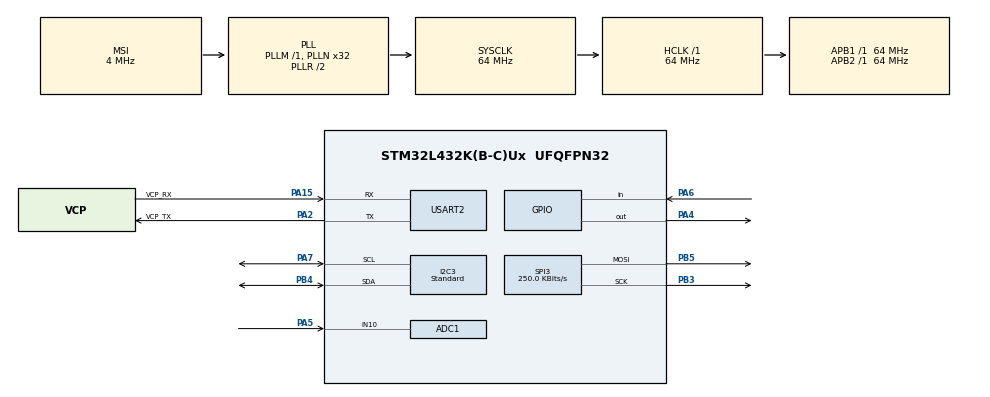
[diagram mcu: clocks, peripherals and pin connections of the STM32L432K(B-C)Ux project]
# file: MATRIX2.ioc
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ADC1.Channel-1\#ChannelRegularConversion=ADC_CHANNEL_10
ADC1.NbrOfConversionFlag=1
ADC1.OffsetNumber-1\#ChannelRegularConversion=ADC_OFFSET_NONE
ADC1.Rank-1\#ChannelRegularConversion=1
ADC1.SamplingTime-1\#ChannelRegularConversion=ADC_SAMPLETIME_2CYCLES_5
ADC1.master=1
FREERTOS.Queues01=UartQueue,16,uint16_t,0,Dynamic,NULL,NULL
FREERTOS.Tasks01=defaultTask,24,128,StartDefaultTask,Default,NULL,Dynamic,NULL,NULL;MartixTask,24,128,StartMartixTask,Default,NULL,Dynamic,NULL,NULL;PotentionTask,24,128,StartPotentionTask,Default,NULL,Dynamic,NULL,NULL;SwitchTask,24,128,StartSwitchTask,Default,NULL,Dynamic,NULL,NULL;TempTask,24,128,StartTempTask,Default,NULL,Dynamic,NULL,NULL;UartTask,24,128,StartUartTask,Default,NULL,Dynamic,NULL,NULL
FREERTOS.configTOTAL_HEAP_SIZE=6000
FREERTOS.configUSE_NEWLIB_REENTRANT=1
I2C3.CustomTiming=Disabled
I2C3.I2C_Speed_Mode=I2C_Standard
I2C3.Timing=0x10707DBC
Mcu.Family=STM32L4
Mcu.Name=STM32L432K(B-C)Ux
Mcu.Package=UFQFPN32
NVIC.PriorityGroup=NVIC_PRIORITYGROUP_4
NVIC.TIM6_DAC_IRQn=true\:15\:0\:false\:false\:true\:false\:false\:true
NVIC.TimeBase=TIM6_DAC_IRQn
NVIC.TimeBaseIP=TIM6
NVIC.USART2_IRQn=true\:5\:0\:false\:false\:true\:true\:true\:true
PA0.Mode=HSE-External-Clock-Source-for-LittleOrca
PA0.Signal=RCC_CK_IN
PA13\ (JTMS-SWDIO).Mode=Serial_Wire
PA13\ (JTMS-SWDIO).Signal=SYS_JTMS-SWDIO
PA14\ (JTCK-SWCLK).Mode=Serial_Wire
PA14\ (JTCK-SWCLK).Signal=SYS_JTCK-SWCLK
PA15\ (JTDI).GPIO_Label=VCP_RX
PA15\ (JTDI).Mode=Asynchronous
PA15\ (JTDI).Signal=USART2_RX
PA2.GPIO_Label=VCP_TX
PA2.Mode=Asynchronous
PA2.Signal=USART2_TX
PA4.Signal=GPIO_Output
PA5.Signal=ADCx_IN10
PA6.GPIO_PuPd=GPIO_PULLUP
PA6.Signal=GPIO_Input
PA7.Mode=I2C
PA7.Signal=I2C3_SCL
PB3\ (JTDO-TRACESWO).Mode=TX_Only_Simplex_Unidirect_Master
PB3\ (JTDO-TRACESWO).Signal=SPI3_SCK
PB4\ (NJTRST).Mode=I2C
PB4\ (NJTRST).Signal=I2C3_SDA
PB5.Mode=TX_Only_Simplex_Unidirect_Master
PB5.Signal=SPI3_MOSI
PC14-OSC32_IN\ (PC14).Mode=LSE-External-Oscillator
PC14-OSC32_IN\ (PC14).Signal=RCC_OSC32_IN
PC15-OSC32_OUT\ (PC15).Mode=LSE-External-Oscillator
PC15-OSC32_OUT\ (PC15).Signal=RCC_OSC32_OUT
ProjectManager.HeapSize=0x200
ProjectManager.StackSize=0x400
ProjectManager.TargetToolchain=STM32CubeIDE
RCC.ADCFreq_Value=32000000
RCC.AHBFreq_Value=64000000
RCC.APB1Freq_Value=64000000
RCC.APB1TimFreq_Value=64000000
RCC.APB2Freq_Value=64000000
RCC.APB2TimFreq_Value=64000000
RCC.CortexFreq_Value=64000000
RCC.HCLKFreq_Value=64000000
RCC.HSE_VALUE=8000000
RCC.HSI48_VALUE=48000000
RCC.HSI_VALUE=16000000
RCC.MSI_VALUE=4000000
RCC.PLLN=32
RCC.PLLSAI1N=16
RCC.SYSCLKFreq_VALUE=64000000
RCC.SYSCLKSource=RCC_SYSCLKSOURCE_PLLCLK
RCC.USBFreq_Value=32000000
RCC.VCOOutputFreq_Value=128000000
SH.ADCx_IN10.0=ADC1_IN10,IN10-Single-Ended
SPI3.BaudRatePrescaler=SPI_BAUDRATEPRESCALER_256
SPI3.CalculateBaudRate=250.0 KBits/s
SPI3.DataSize=SPI_DATASIZE_8BIT
SPI3.Direction=SPI_DIRECTION_2LINES
SPI3.Mode=SPI_MODE_MASTER
SPI3.VirtualType=VM_MASTER
USART2.VirtualMode-Asynchronous=VM_ASYNC
VP_FREERTOS_VS_CMSIS_V2.Mode=CMSIS_V2
VP_RNG_VS_RNG.Mode=RNG_Activate
VP_SYS_VS_tim6.Mode=TIM6
board=custom

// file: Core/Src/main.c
/* USER CODE BEGIN Header */
/**
  ******************************************************************************
  * @file           : main.c
  * @brief          : Main program body
  ******************************************************************************
  * @attention
  *
  * Copyright (c) 2022 STMicroelectronics.
  * All rights reserved.
  *
  * This software is licensed under terms that can be found in the LICENSE file
  * in the root directory of this software component.
  * If no LICENSE file comes with this software, it is provided AS-IS.
  *
  ******************************************************************************
  */
/* USER CODE END Header */
#include "main.h"
#include "cmsis_os.h"

/* USER CODE BEGIN Includes */
#include <stdio.h>

#include "max7219_matrix.h"
#include "GFX_BW.h"
#include "fonts/fonts.h"
#include <string.h>
char Text[50];
char str[255] ="Systemy Operacyjne Mikrokontrolerow";

int sensor = 0;
int sensor11 = 0;
int sensor12 = 0;
uint16_t del = 100;
uint8_t flag = 2;
uint8_t intesivity = 99;

/* Variables for AHT10 */
uint8_t AHT10_RX_Data[6];
uint32_t AHT10_ADC_Raw;
float AHT10_Temperature = 0;
float AHT10_Humidity;
uint8_t AHT10_TmpHum_Cmd = 0xAC;

#define AHT10_Adress 0x38 << 1

uint8_t img[]={0x00,0x66,0xFF,0xFF,0xFF,0x7E,0x3C,0x18,0x00,0x66,0xFF,0xFF,0xFF,0x7E,0x3C,0x18};

/* USER CODE END Includes */

ADC_HandleTypeDef hadc1;

I2C_HandleTypeDef hi2c3;

RNG_HandleTypeDef hrng;

SPI_HandleTypeDef hspi3;

UART_HandleTypeDef huart2;

/* Definitions for defaultTask */
osThreadId_t defaultTaskHandle;
const osThreadAttr_t defaultTask_attributes = {
  .name = "defaultTask",
  .stack_size = 128 * 4,
  .priority = (osPriority_t) osPriorityNormal,
};
/* Definitions for MartixTask */
osThreadId_t MartixTaskHandle;
const osThreadAttr_t MartixTask_attributes = {
  .name = "MartixTask",
  .stack_size = 128 * 4,
  .priority = (osPriority_t) osPriorityNormal,
};
/* Definitions for PotentionTask */
osThreadId_t PotentionTaskHandle;
const osThreadAttr_t PotentionTask_attributes = {
  .name = "PotentionTask",
  .stack_size = 128 * 4,
  .priority = (osPriority_t) osPriorityNormal,
};
/* Definitions for SwitchTask */
osThreadId_t SwitchTaskHandle;
const osThreadAttr_t SwitchTask_attributes = {
  .name = "SwitchTask",
  .stack_size = 128 * 4,
  .priority = (osPriority_t) osPriorityNormal,
};
/* Definitions for TempTask */
osThreadId_t TempTaskHandle;
const osThreadAttr_t TempTask_attributes = {
  .name = "TempTask",
  .stack_size = 128 * 4,
  .priority = (osPriority_t) osPriorityNormal,
};
/* Definitions for UartTask */
osThreadId_t UartTaskHandle;
const osThreadAttr_t UartTask_attributes = {
  .name = "UartTask",
  .stack_size = 128 * 4,
  .priority = (osPriority_t) osPriorityNormal,
};
/* Definitions for UartQueue */
osMessageQueueId_t UartQueueHandle;
const osMessageQueueAttr_t UartQueue_attributes = {
  .name = "UartQueue"
};
/* USER CODE BEGIN PV */
uint8_t uart2RecBuf = 0;
/* USER CODE END PV */

void SystemClock_Config(void);
void PeriphCommonClock_Config(void);
static void MX_GPIO_Init(void);
static void MX_ADC1_Init(void);
static void MX_I2C3_Init(void);
static void MX_SPI3_Init(void);
static void MX_USART2_UART_Init(void);
static void MX_RNG_Init(void);
void StartDefaultTask(void *argument);
void StartMartixTask(void *argument);
void StartPotentionTask(void *argument);
void StartSwitchTask(void *argument);
void StartTempTask(void *argument);
void StartUartTask(void *argument);

/* USER CODE BEGIN PFP */
void HAL_UART_RxCpltCallback(UART_HandleTypeDef *huart)
{
	if (1) // interrupt rx
	{
		//osMessageQueuePut(mq_id, msg_ptr, msg_prio, timeout)
		osMessageQueuePut(UartQueueHandle, &uart2RecBuf, 0, 0);
		//mask= mask? 0:1 ;
		HAL_UART_Receive_IT(&huart2, &uart2RecBuf, 1);
	}
}

uint8_t scan(uint8_t *stt){
	uint8_t f = 0;
	for (int i = 1; i <255; i++){
		if(stt[i] == '#' ){
			f = 1;
		}
		if(f == 0){
			str[i-1]=stt[i];
		}
		else{
			str[i-1]= NULL;
		}
	}

}

void graf(uint8_t *stt){
	char ff[16];
	uint8_t ii = 1;
	for (int i = 0; i < 16; i++){
		ii += 6;

	}

}

/* USER CODE END PFP */

int main(void)
{

  /* MCU Configuration--------------------------------------------------------*/

  /* Reset of all peripherals, Initializes the Flash interface and the Systick. */
  HAL_Init();

  /* Configure the system clock */
  SystemClock_Config();

/* Configure the peripherals common clocks */
  PeriphCommonClock_Config();

  /* Initialize all configured peripherals */
  MX_GPIO_Init();
  MX_ADC1_Init();
  MX_I2C3_Init();
  MX_SPI3_Init();
  MX_USART2_UART_Init();
  MX_RNG_Init();
  /* USER CODE BEGIN 2 */
  MAX7219_Init(&hspi3);
  HAL_Delay(100);
  GFX_SetFont(font_8x5);
  GFX_SetFontSize(1);
  MAX7219_Clear(MAX7219_BLACK);
  MAX7219_Display();
  HAL_UART_Receive_IT(&huart2, &uart2RecBuf, 1);
  /* USER CODE END 2 */

  /* Init scheduler */
  osKernelInitialize();

  /* Create the queue(s) */
  /* creation of UartQueue */
  UartQueueHandle = osMessageQueueNew (16, sizeof(uint16_t), &UartQueue_attributes);

  /* Create the thread(s) */
  /* creation of defaultTask */
  defaultTaskHandle = osThreadNew(StartDefaultTask, NULL, &defaultTask_attributes);

  /* creation of MartixTask */
  MartixTaskHandle = osThreadNew(StartMartixTask, NULL, &MartixTask_attributes);

  /* creation of PotentionTask */
  PotentionTaskHandle = osThreadNew(StartPotentionTask, NULL, &PotentionTask_attributes);

  /* creation of SwitchTask */
  SwitchTaskHandle = osThreadNew(StartSwitchTask, NULL, &SwitchTask_attributes);

  /* creation of TempTask */
  TempTaskHandle = osThreadNew(StartTempTask, NULL, &TempTask_attributes);

  /* creation of UartTask */
  UartTaskHandle = osThreadNew(StartUartTask, NULL, &UartTask_attributes);

  /* Start scheduler */
  osKernelStart();

  /* We should never get here as control is now taken by the scheduler */
  /* Infinite loop */
  while (1)
  {

  }
}

void SystemClock_Config(void)
{
  RCC_OscInitTypeDef RCC_OscInitStruct = {0};
  RCC_ClkInitTypeDef RCC_ClkInitStruct = {0};

  /** Configure the main internal regulator output voltage
  */
  if (HAL_PWREx_ControlVoltageScaling(PWR_REGULATOR_VOLTAGE_SCALE1) != HAL_OK)
  {
    Error_Handler();
  }
  /** Configure LSE Drive Capability
  */
  HAL_PWR_EnableBkUpAccess();
  __HAL_RCC_LSEDRIVE_CONFIG(RCC_LSEDRIVE_LOW);
  /** Initializes the RCC Oscillators according to the specified parameters
  * in the RCC_OscInitTypeDef structure.
  */
  RCC_OscInitStruct.OscillatorType = RCC_OSCILLATORTYPE_LSE|RCC_OSCILLATORTYPE_MSI;
  RCC_OscInitStruct.LSEState = RCC_LSE_ON;
  RCC_OscInitStruct.MSIState = RCC_MSI_ON;
  RCC_OscInitStruct.MSICalibrationValue = 0;
  RCC_OscInitStruct.MSIClockRange = RCC_MSIRANGE_6;
  RCC_OscInitStruct.PLL.PLLState = RCC_PLL_ON;
  RCC_OscInitStruct.PLL.PLLSource = RCC_PLLSOURCE_MSI;
  RCC_OscInitStruct.PLL.PLLM = 1;
  RCC_OscInitStruct.PLL.PLLN = 32;
  RCC_OscInitStruct.PLL.PLLP = RCC_PLLP_DIV7;
  RCC_OscInitStruct.PLL.PLLQ = RCC_PLLQ_DIV2;
  RCC_OscInitStruct.PLL.PLLR = RCC_PLLR_DIV2;
  if (HAL_RCC_OscConfig(&RCC_OscInitStruct) != HAL_OK)
  {
    Error_Handler();
  }
  /** Initializes the CPU, AHB and APB buses clocks
  */
  RCC_ClkInitStruct.ClockType = RCC_CLOCKTYPE_HCLK|RCC_CLOCKTYPE_SYSCLK
                              |RCC_CLOCKTYPE_PCLK1|RCC_CLOCKTYPE_PCLK2;
  RCC_ClkInitStruct.SYSCLKSource = RCC_SYSCLKSOURCE_PLLCLK;
  RCC_ClkInitStruct.AHBCLKDivider = RCC_SYSCLK_DIV1;
  RCC_ClkInitStruct.APB1CLKDivider = RCC_HCLK_DIV1;
  RCC_ClkInitStruct.APB2CLKDivider = RCC_HCLK_DIV1;

  if (HAL_RCC_ClockConfig(&RCC_ClkInitStruct, FLASH_LATENCY_3) != HAL_OK)
  {
    Error_Handler();
  }
  /** Enable MSI Auto calibration
  */
  HAL_RCCEx_EnableMSIPLLMode();
}

void PeriphCommonClock_Config(void)
{
  RCC_PeriphCLKInitTypeDef PeriphClkInit = {0};

  /** Initializes the peripherals clock
  */
  PeriphClkInit.PeriphClockSelection = RCC_PERIPHCLK_RNG|RCC_PERIPHCLK_ADC;
  PeriphClkInit.AdcClockSelection = RCC_ADCCLKSOURCE_PLLSAI1;
  PeriphClkInit.RngClockSelection = RCC_RNGCLKSOURCE_PLLSAI1;
  PeriphClkInit.PLLSAI1.PLLSAI1Source = RCC_PLLSOURCE_MSI;
  PeriphClkInit.PLLSAI1.PLLSAI1M = 1;
  PeriphClkInit.PLLSAI1.PLLSAI1N = 16;
  PeriphClkInit.PLLSAI1.PLLSAI1P = RCC_PLLP_DIV7;
  PeriphClkInit.PLLSAI1.PLLSAI1Q = RCC_PLLQ_DIV2;
  PeriphClkInit.PLLSAI1.PLLSAI1R = RCC_PLLR_DIV2;
  PeriphClkInit.PLLSAI1.PLLSAI1ClockOut = RCC_PLLSAI1_48M2CLK|RCC_PLLSAI1_ADC1CLK;
  if (HAL_RCCEx_PeriphCLKConfig(&PeriphClkInit) != HAL_OK)
  {
    Error_Handler();
  }
}

static void MX_ADC1_Init(void)
{

  ADC_ChannelConfTypeDef sConfig = {0};

  /** Common config
  */
  hadc1.Instance = ADC1;
  hadc1.Init.ClockPrescaler = ADC_CLOCK_ASYNC_DIV1;
  hadc1.Init.Resolution = ADC_RESOLUTION_12B;
  hadc1.Init.DataAlign = ADC_DATAALIGN_RIGHT;
  hadc1.Init.ScanConvMode = ADC_SCAN_DISABLE;
  hadc1.Init.EOCSelection = ADC_EOC_SINGLE_CONV;
  hadc1.Init.LowPowerAutoWait = DISABLE;
  hadc1.Init.ContinuousConvMode = DISABLE;
  hadc1.Init.NbrOfConversion = 1;
  hadc1.Init.DiscontinuousConvMode = DISABLE;
  hadc1.Init.ExternalTrigConv = ADC_SOFTWARE_START;
  hadc1.Init.ExternalTrigConvEdge = ADC_EXTERNALTRIGCONVEDGE_NONE;
  hadc1.Init.DMAContinuousRequests = DISABLE;
  hadc1.Init.Overrun = ADC_OVR_DATA_PRESERVED;
  hadc1.Init.OversamplingMode = DISABLE;
  if (HAL_ADC_Init(&hadc1) != HAL_OK)
  {
    Error_Handler();
  }
  /** Configure Regular Channel
  */
  sConfig.Channel = ADC_CHANNEL_10;
  sConfig.Rank = ADC_REGULAR_RANK_1;
  sConfig.SamplingTime = ADC_SAMPLETIME_2CYCLES_5;
  sConfig.SingleDiff = ADC_SINGLE_ENDED;
  sConfig.OffsetNumber = ADC_OFFSET_NONE;
  sConfig.Offset = 0;
  if (HAL_ADC_ConfigChannel(&hadc1, &sConfig) != HAL_OK)
  {
    Error_Handler();
  }

}

static void MX_I2C3_Init(void)
{

  hi2c3.Instance = I2C3;
  hi2c3.Init.Timing = 0x10707DBC;
  hi2c3.Init.OwnAddress1 = 0;
  hi2c3.Init.AddressingMode = I2C_ADDRESSINGMODE_7BIT;
  hi2c3.Init.DualAddressMode = I2C_DUALADDRESS_DISABLE;
  hi2c3.Init.OwnAddress2 = 0;
  hi2c3.Init.OwnAddress2Masks = I2C_OA2_NOMASK;
  hi2c3.Init.GeneralCallMode = I2C_GENERALCALL_DISABLE;
  hi2c3.Init.NoStretchMode = I2C_NOSTRETCH_DISABLE;
  if (HAL_I2C_Init(&hi2c3) != HAL_OK)
  {
    Error_Handler();
  }
  /** Configure Analogue filter
  */
  if (HAL_I2CEx_ConfigAnalogFilter(&hi2c3, I2C_ANALOGFILTER_ENABLE) != HAL_OK)
  {
    Error_Handler();
  }
  /** Configure Digital filter
  */
  if (HAL_I2CEx_ConfigDigitalFilter(&hi2c3, 0) != HAL_OK)
  {
    Error_Handler();
  }

}

static void MX_RNG_Init(void)
{

  hrng.Instance = RNG;
  if (HAL_RNG_Init(&hrng) != HAL_OK)
  {
    Error_Handler();
  }

}

static void MX_SPI3_Init(void)
{

  /* SPI3 parameter configuration*/
  hspi3.Instance = SPI3;
  hspi3.Init.Mode = SPI_MODE_MASTER;
  hspi3.Init.Direction = SPI_DIRECTION_2LINES;
  hspi3.Init.DataSize = SPI_DATASIZE_8BIT;
  hspi3.Init.CLKPolarity = SPI_POLARITY_LOW;
  hspi3.Init.CLKPhase = SPI_PHASE_1EDGE;
  hspi3.Init.NSS = SPI_NSS_SOFT;
  hspi3.Init.BaudRatePrescaler = SPI_BAUDRATEPRESCALER_256;
  hspi3.Init.FirstBit = SPI_FIRSTBIT_MSB;
  hspi3.Init.TIMode = SPI_TIMODE_DISABLE;
  hspi3.Init.CRCCalculation = SPI_CRCCALCULATION_DISABLE;
  hspi3.Init.CRCPolynomial = 7;
  hspi3.Init.CRCLength = SPI_CRC_LENGTH_DATASIZE;
  hspi3.Init.NSSPMode = SPI_NSS_PULSE_ENABLE;
  if (HAL_SPI_Init(&hspi3) != HAL_OK)
  {
    Error_Handler();
  }

}

static void MX_USART2_UART_Init(void)
{

  huart2.Instance = USART2;
  huart2.Init.BaudRate = 9600;
  huart2.Init.WordLength = UART_WORDLENGTH_8B;
  huart2.Init.StopBits = UART_STOPBITS_1;
  huart2.Init.Parity = UART_PARITY_NONE;
  huart2.Init.Mode = UART_MODE_TX_RX;
  huart2.Init.HwFlowCtl = UART_HWCONTROL_NONE;
  huart2.Init.OverSampling = UART_OVERSAMPLING_16;
  huart2.Init.OneBitSampling = UART_ONE_BIT_SAMPLE_DISABLE;
  huart2.AdvancedInit.AdvFeatureInit = UART_ADVFEATURE_NO_INIT;
  if (HAL_UART_Init(&huart2) != HAL_OK)
  {
    Error_Handler();
  }

}

static void MX_GPIO_Init(void)
{
  GPIO_InitTypeDef GPIO_InitStruct = {0};

  /* GPIO Ports Clock Enable */
  __HAL_RCC_GPIOC_CLK_ENABLE();
  __HAL_RCC_GPIOA_CLK_ENABLE();
  __HAL_RCC_GPIOB_CLK_ENABLE();

  /*Configure GPIO pin Output Level */
  HAL_GPIO_WritePin(GPIOA, GPIO_PIN_4, GPIO_PIN_RESET);

  /*Configure GPIO pin : PA4 */
  GPIO_InitStruct.Pin = GPIO_PIN_4;
  GPIO_InitStruct.Mode = GPIO_MODE_OUTPUT_PP;
  GPIO_InitStruct.Pull = GPIO_NOPULL;
  GPIO_InitStruct.Speed = GPIO_SPEED_FREQ_LOW;
  HAL_GPIO_Init(GPIOA, &GPIO_InitStruct);

  /*Configure GPIO pin : PA6 */
  GPIO_InitStruct.Pin = GPIO_PIN_6;
  GPIO_InitStruct.Mode = GPIO_MODE_INPUT;
  GPIO_InitStruct.Pull = GPIO_PULLUP;
  HAL_GPIO_Init(GPIOA, &GPIO_InitStruct);

}

void StartDefaultTask(void *argument)
{
  for(;;)
  {
    osDelay(1);
  }
}

void StartMartixTask(void *argument)
{
  /* USER CODE BEGIN StartMartixTask */
  /* Infinite loop */
	for(;;)
	  {
		if (flag == 0 || flag == 1){
			if (flag == 0){
				sprintf(Text, "%d#", sensor);
			}
			else if (flag == 1){
				sprintf(Text, "%d$", sensor);
			}
			MAX7219_Clear(MAX7219_BLACK);
			GFX_DrawString(0,0, Text, MAX7219_WHITE, MAX7219_BLACK);
			MAX7219_Display();
			osDelay(200);
		}
		else if(flag == 2){

			uint8_t w=sizeof(img);

			uint8_t h=8;
			uint8_t i, j, jj;

				MAX7219_Clear(MAX7219_BLACK);
				for(j = 0; j < h; j++)
				{
					for(i = 0; i < w; i++)
					{
						jj=(i)/8;
						if(img[(j+jj*7) + i /8] & (128 >> (i&7)) ){
							GFX_DrawPixel(i, j, MAX7219_WHITE);
						}
					}
				}
				MAX7219_Display();
				if(flag!=2)break;
				osDelay(100);

		}
		else if (flag == 3){
			uint8_t TextSize = strlen(str);
				for(int i = MAX7219_X_PIXELS; i > ((TextSize * (GFX_GetFontWidth() + 1)) * -1); i--){
				MAX7219_Clear(MAX7219_BLACK);
				GFX_DrawString(i,0, str, MAX7219_WHITE, MAX7219_BLACK);
				MAX7219_Display();
				if(flag!=3)break;
				osDelay(del);
			}
		}

	  }
  /* USER CODE END StartMartixTask */
}

void StartPotentionTask(void *argument)
{
  /* USER CODE BEGIN StartPotentionTask */
  /* Infinite loop */

  for(;;)
  {
	int AD_RES = 0;

	  // Start ADC Conversion
	HAL_ADC_Start(&hadc1);
	         // Poll ADC1 Perihperal & TimeOut = 1mSec
	HAL_ADC_PollForConversion(&hadc1, 1);
	         // Read The ADC Conversion Result & Map It To PWM DutyCycle
	AD_RES = HAL_ADC_GetValue(&hadc1);

	if((AD_RES/500)!= intesivity ){
		intesivity = 8 - (AD_RES/500);

		MAX7219_SetIntensity(0,intesivity);
		MAX7219_SetIntensity(1,intesivity);
	}
    osDelay(100);
  }
  /* USER CODE END StartPotentionTask */
}

void StartSwitchTask(void *argument)
{
  /* USER CODE BEGIN StartSwitchTask */
  /* Infinite loop */
  for(;;)
  {

	  if (HAL_GPIO_ReadPin(GPIOA, GPIO_PIN_6) == GPIO_PIN_RESET){
		  osDelay(300);
		  if(flag==0){flag=1;}
		  else if (flag==1){flag=2;}
		  else if (flag==2){flag=3;}
		  else if (flag==3){flag=0;}

	  }
	  if(flag == 0){sensor=sensor11;}
	  else if (flag == 1){sensor=sensor12;}

    osDelay(1);
  }
  /* USER CODE END StartSwitchTask */
}

void StartTempTask(void *argument)
{
  /* USER CODE BEGIN StartTempTask */
  /* Infinite loop */
  for(;;)
  {

	  HAL_I2C_Master_Transmit(&hi2c3, AHT10_Adress,  &AHT10_TmpHum_Cmd, 1,100); // Send command (trigger measuremetns) + parameters
	  osDelay(100);

	  HAL_I2C_Master_Receive(&hi2c3, AHT10_Adress,  (uint8_t*)AHT10_RX_Data, 6,100); // Receive data: STATUS[1]:HIMIDITY[2.5]:TEMPERATURE[2.5]

	  AHT10_ADC_Raw = (((uint32_t)AHT10_RX_Data[3] & 15) << 16) | ((uint32_t)AHT10_RX_Data[4] << 8) | AHT10_RX_Data[5];
	  AHT10_Temperature = (float)(AHT10_ADC_Raw * 200.00 / 1048576.00) - 50.00;

	  AHT10_ADC_Raw = ((uint32_t)AHT10_RX_Data[1] << 12) | ((uint32_t)AHT10_RX_Data[2] << 4) | (AHT10_RX_Data[3] >> 4);
	  AHT10_Humidity = (float)(AHT10_ADC_Raw*100.00/1048576.00);

	  sensor11=(int)AHT10_Temperature;
	  sensor12=(int)AHT10_Humidity;
	  osDelay(2000);

  }
  /* USER CODE END StartTempTask */
}

void StartUartTask(void *argument)
{
  /* USER CODE BEGIN StartUartTask */
		uint8_t accepted[] = "accepted\n" ;
		uint8_t error[] = "error\n" ;

		uint8_t uartCMD[255] ;
		uint16_t fromQueue ;
		uint8_t index = 0 ;
		uint8_t ii = 0;
		uint16_t sl = 0;
	  /* Infinite loop */
	  for(;;){

	    osDelay(1);
	    osMessageQueueGet(UartQueueHandle, &fromQueue, 0, osWaitForever);

	    uartCMD[index] = (uint8_t) fromQueue ; index = (index<255? index+1 : 0) ;

	    if (fromQueue == 0x0A) {
	    	index = 0 ;
	        ii = 1;

	        switch(uartCMD[0]) {

	        	case '0' :

	        		flag = 0;
	        		HAL_UART_Transmit_IT(&huart2, "Temperatura\n", sizeof("Temperatura\n"));
	        		break;

	        	case '1' :

	        		flag = 1;
	        		HAL_UART_Transmit_IT(&huart2, "Wilgotnosc\n", sizeof("Wilgotnosc\n"));
	        		break;

	        	case '2':

	        		flag = 2;
	        		HAL_UART_Transmit_IT(&huart2, "GFX\n", sizeof("GFX\n"));
	        		break;

	        	case '3':

	        		flag = 3;
	        		HAL_UART_Transmit_IT(&huart2, "Text\n", sizeof("Text\n"));
	        		break;

	        	case 's':

        				for(int j = 0 ; j < 4 ; j++){

        					if (uartCMD[j] <= 0x39){
        						uartCMD[j] = uartCMD[j] - 0x30;  // 1 - 9
        					}
        					else{
        						uartCMD[j] = uartCMD[j] - 0x37;  //preserve A - F
        					}

        				}
        				sl = uartCMD[1] << 8 | uartCMD[2] << 4 | uartCMD[3] ;

        				HAL_UART_Transmit_IT(&huart2, "Slide\n", sizeof("Slide\n"));
        				del = sl;
	        		break;

	        	case 'g':

	        		if (uartCMD[49] == '#'){

	        			for (int i = 1; i < 17; i++){
	        				for(int j = 0 ; j < 2 ; j++){

	        					if (uartCMD[ii+j] <= 0x39){
	        						uartCMD[ii+j] = uartCMD[ii+j] - 0x30;  //preserve: 1 - 9
	        					}
	        					else{
	        						uartCMD[ii+j] = uartCMD[ii+j] - 0x37;  //preserve A - F
	        					}

	        				}

	        				img[i-1] =  uartCMD[ii] << 4 | uartCMD[ii+1]  ;
	        				ii += 3;

	        			}

	        			HAL_UART_Transmit_IT(&huart2, accepted, sizeof(accepted));
	        			flag = 2;
	        		}
	        		else{
	        			HAL_UART_Transmit_IT(&huart2, error, sizeof(error));
	        		}

	        		break ;

	        	case 't':

	        		scan(uartCMD);
	        		HAL_UART_Transmit_IT(&huart2, accepted, sizeof(accepted));
	        		flag = 3;

	        		break ;
	        	}
	        }

	  }
  /* USER CODE END StartUartTask */
}

void HAL_TIM_PeriodElapsedCallback(TIM_HandleTypeDef *htim)
{
  if (htim->Instance == TIM6) {
    HAL_IncTick();
  }
}

void Error_Handler(void)
{
  __disable_irq();
  while (1)
  {
  }
}
